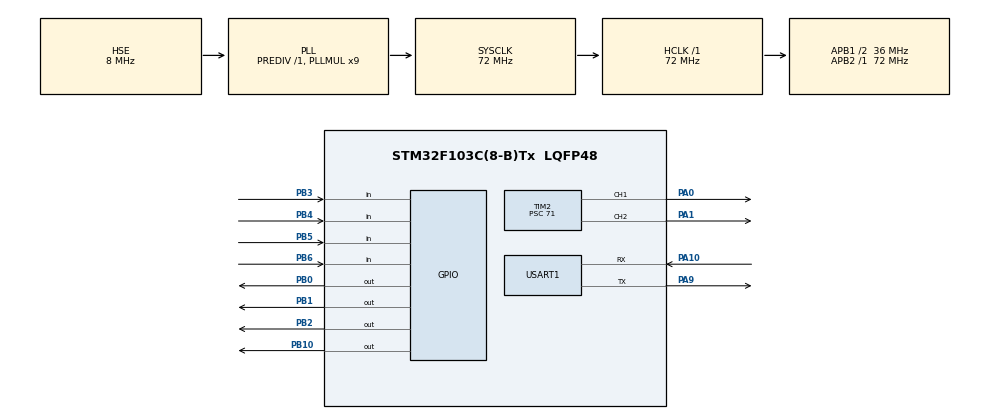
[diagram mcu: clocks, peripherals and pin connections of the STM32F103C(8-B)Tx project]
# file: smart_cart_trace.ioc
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Mcu.Family=STM32F1
Mcu.Name=STM32F103C(8-B)Tx
Mcu.Package=LQFP48
NVIC.PriorityGroup=NVIC_PRIORITYGROUP_4
NVIC.USART1_IRQn=true\:0\:0\:false\:false\:true\:true\:true\:true
PA0-WKUP.Signal=S_TIM2_CH1_ETR
PA1.Signal=S_TIM2_CH2
PA10.Mode=Asynchronous
PA10.Signal=USART1_RX
PA13.Mode=Serial_Wire
PA13.Signal=SYS_JTMS-SWDIO
PA14.Mode=Serial_Wire
PA14.Signal=SYS_JTCK-SWCLK
PA9.Mode=Asynchronous
PA9.Signal=USART1_TX
PB0.Signal=GPIO_Output
PB1.Signal=GPIO_Output
PB10.Signal=GPIO_Output
PB2.Signal=GPIO_Output
PB3.Signal=GPIO_Input
PB4.Signal=GPIO_Input
PB5.Signal=GPIO_Input
PB6.Signal=GPIO_Input
PD0-OSC_IN.Mode=HSE-External-Oscillator
PD0-OSC_IN.Signal=RCC_OSC_IN
PD1-OSC_OUT.Mode=HSE-External-Oscillator
PD1-OSC_OUT.Signal=RCC_OSC_OUT
ProjectManager.HeapSize=0x200
ProjectManager.StackSize=0x400
ProjectManager.TargetToolchain=MDK-ARM V5.32
RCC.AHBFreq_Value=72000000
RCC.APB1CLKDivider=RCC_HCLK_DIV2
RCC.APB1Freq_Value=36000000
RCC.APB1TimFreq_Value=72000000
RCC.APB2Freq_Value=72000000
RCC.APB2TimFreq_Value=72000000
RCC.HCLKFreq_Value=72000000
RCC.PLLMUL=RCC_PLL_MUL9
RCC.PLLSourceVirtual=RCC_PLLSOURCE_HSE
RCC.SYSCLKFreq_VALUE=72000000
RCC.SYSCLKSource=RCC_SYSCLKSOURCE_PLLCLK
RCC.USBFreq_Value=72000000
SH.S_TIM2_CH1_ETR.0=TIM2_CH1,PWM Generation1 CH1
SH.S_TIM2_CH2.0=TIM2_CH2,PWM Generation2 CH2
TIM2.AutoReloadPreload=TIM_AUTORELOAD_PRELOAD_ENABLE
TIM2.Channel-PWM\ Generation1\ CH1=TIM_CHANNEL_1
TIM2.Channel-PWM\ Generation2\ CH2=TIM_CHANNEL_2
TIM2.OCPolarity_1=TIM_OCPOLARITY_HIGH
TIM2.OCPolarity_2=TIM_OCPOLARITY_HIGH
TIM2.Period=19
TIM2.Prescaler=71
USART1.VirtualMode=VM_ASYNC
VP_TIM2_VS_ClockSourceINT.Mode=Internal
board=custom

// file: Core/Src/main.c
/* USER CODE BEGIN Header */
/**
  ******************************************************************************
  * @file           : main.c
  * @brief          : Main program body
  ******************************************************************************
  * @attention
  *
  * Copyright (c) 2023 STMicroelectronics.
  * All rights reserved.
  *
  * This software is licensed under terms that can be found in the LICENSE file
  * in the root directory of this software component.
  * If no LICENSE file comes with this software, it is provided AS-IS.
  *
  ******************************************************************************
  */
/* USER CODE END Header */
#include "main.h"
#include "tim.h"
#include "usart.h"
#include "gpio.h"

/* USER CODE BEGIN Includes */
#include "motor.h"
#include "stdio.h"
#include "sensor.h"
/* USER CODE END Includes */

void SystemClock_Config(void);
/* USER CODE BEGIN PFP */
int fputc(int ch, FILE *file) {
	unsigned char temp[1] = {ch};
	HAL_UART_Transmit(&huart1, temp, 1, 0xfff);
	return ch;
}
/* USER CODE END PFP */

int main(void)
{

  /* MCU Configuration--------------------------------------------------------*/

  /* Reset of all peripherals, Initializes the Flash interface and the Systick. */
  HAL_Init();

  /* Configure the system clock */
  SystemClock_Config();

  /* Initialize all configured peripherals */
  MX_GPIO_Init();
  MX_USART1_UART_Init();
  MX_TIM2_Init();
  /* USER CODE BEGIN 2 */
	HAL_UART_Receive_IT(&huart1, &buf, 1);
	HAL_TIM_PWM_Start(&htim2,TIM_CHANNEL_1);
	HAL_TIM_PWM_Start(&htim2,TIM_CHANNEL_2);
  /* USER CODE END 2 */

  /* Infinite loop */
  while (1)
  {

    /* USER CODE BEGIN 3 */

		/*
		if(leftFollowValue() == GPIO_PIN_RESET && rightFollowValue() == GPIO_PIN_RESET) {
			__HAL_TIM_SetCompare(&htim2, TIM_CHANNEL_1,19);
			__HAL_TIM_SetCompare(&htim2, TIM_CHANNEL_2,16);
		}
		if(leftFollowValue() == GPIO_PIN_RESET && rightFollowValue() == GPIO_PIN_SET) {
			__HAL_TIM_SetCompare(&htim2, TIM_CHANNEL_1,19);
			__HAL_TIM_SetCompare(&htim2, TIM_CHANNEL_2,4);
		}
		if(leftFollowValue() == GPIO_PIN_SET && rightFollowValue() == GPIO_PIN_RESET) {
			__HAL_TIM_SetCompare(&htim2, TIM_CHANNEL_1,4);
			__HAL_TIM_SetCompare(&htim2, TIM_CHANNEL_2,19);
		}
		if(leftFollowValue() == GPIO_PIN_SET && rightFollowValue() == GPIO_PIN_SET) {
			__HAL_TIM_SetCompare(&htim2, TIM_CHANNEL_1,0);
			__HAL_TIM_SetCompare(&htim2, TIM_CHANNEL_2,0);
		}
		*/

		if(leftTraceValue() == GPIO_PIN_RESET && rightTraceValue() == GPIO_PIN_RESET) {
			__HAL_TIM_SetCompare(&htim2, TIM_CHANNEL_1,19);
			__HAL_TIM_SetCompare(&htim2, TIM_CHANNEL_2,16);
		}
		if(leftTraceValue() == GPIO_PIN_RESET && rightTraceValue() == GPIO_PIN_SET) {
			__HAL_TIM_SetCompare(&htim2, TIM_CHANNEL_1,4);
			__HAL_TIM_SetCompare(&htim2, TIM_CHANNEL_2,19);
		}
		if(leftTraceValue() == GPIO_PIN_SET && rightTraceValue() == GPIO_PIN_RESET) {
			__HAL_TIM_SetCompare(&htim2, TIM_CHANNEL_1,19);
			__HAL_TIM_SetCompare(&htim2, TIM_CHANNEL_2,4);
		}
		if(leftTraceValue() == GPIO_PIN_SET && rightTraceValue() == GPIO_PIN_SET) {
			__HAL_TIM_SetCompare(&htim2, TIM_CHANNEL_1,0);
			__HAL_TIM_SetCompare(&htim2, TIM_CHANNEL_2,0);
		}

  }
  /* USER CODE END 3 */
}

void SystemClock_Config(void)
{
  RCC_OscInitTypeDef RCC_OscInitStruct = {0};
  RCC_ClkInitTypeDef RCC_ClkInitStruct = {0};

  /** Initializes the RCC Oscillators according to the specified parameters
  * in the RCC_OscInitTypeDef structure.
  */
  RCC_OscInitStruct.OscillatorType = RCC_OSCILLATORTYPE_HSE;
  RCC_OscInitStruct.HSEState = RCC_HSE_ON;
  RCC_OscInitStruct.HSEPredivValue = RCC_HSE_PREDIV_DIV1;
  RCC_OscInitStruct.HSIState = RCC_HSI_ON;
  RCC_OscInitStruct.PLL.PLLState = RCC_PLL_ON;
  RCC_OscInitStruct.PLL.PLLSource = RCC_PLLSOURCE_HSE;
  RCC_OscInitStruct.PLL.PLLMUL = RCC_PLL_MUL9;
  if (HAL_RCC_OscConfig(&RCC_OscInitStruct) != HAL_OK)
  {
    Error_Handler();
  }

  /** Initializes the CPU, AHB and APB buses clocks
  */
  RCC_ClkInitStruct.ClockType = RCC_CLOCKTYPE_HCLK|RCC_CLOCKTYPE_SYSCLK
                              |RCC_CLOCKTYPE_PCLK1|RCC_CLOCKTYPE_PCLK2;
  RCC_ClkInitStruct.SYSCLKSource = RCC_SYSCLKSOURCE_PLLCLK;
  RCC_ClkInitStruct.AHBCLKDivider = RCC_SYSCLK_DIV1;
  RCC_ClkInitStruct.APB1CLKDivider = RCC_HCLK_DIV2;
  RCC_ClkInitStruct.APB2CLKDivider = RCC_HCLK_DIV1;

  if (HAL_RCC_ClockConfig(&RCC_ClkInitStruct, FLASH_LATENCY_2) != HAL_OK)
  {
    Error_Handler();
  }
}

void Error_Handler(void)
{
  __disable_irq();
  while (1)
  {
  }
}
